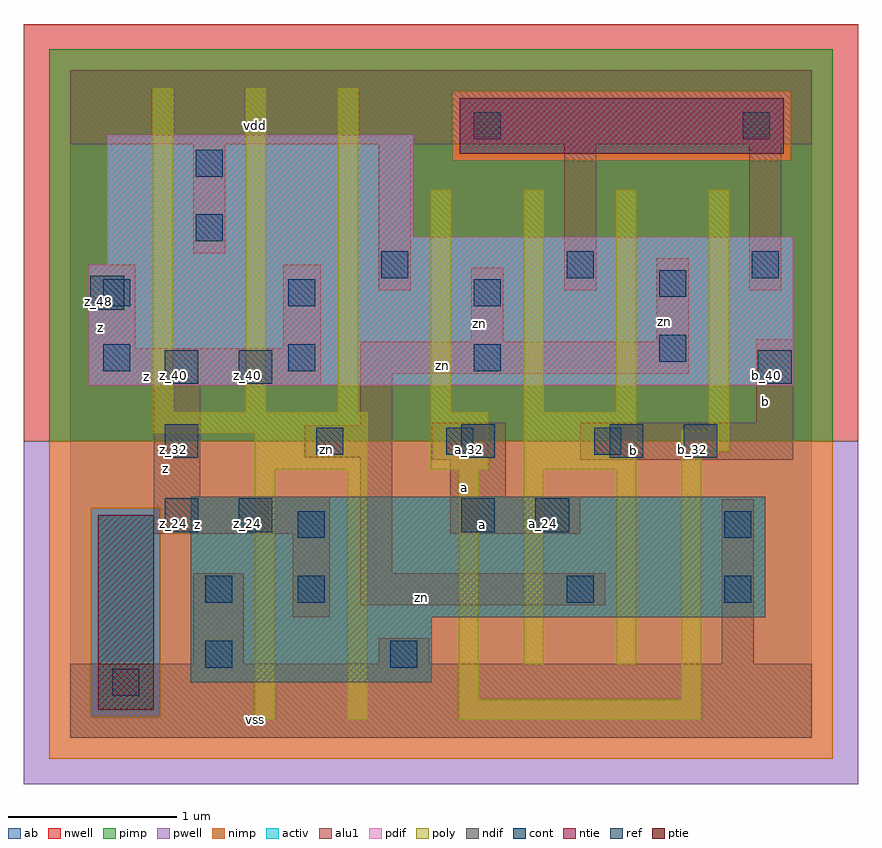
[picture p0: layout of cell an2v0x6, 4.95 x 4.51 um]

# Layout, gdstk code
import gdstk
lib = gdstk.Library(unit=1e-6, precision=2.5e-09)
def R(c, l, rs):  # rectangles x0, y0, x1, y1
    for r in rs: c.add(gdstk.rectangle(r[:2], r[2:], *l))
def A(c, l, x, y, w, h, nx, ny, dx, dy):  # array of equal rectangles
    R(c, l, [(x+i*dx, y+j*dy, x+i*dx+w, y+j*dy+h) for i in range(nx) for j in range(ny)])
ndif = (3, 0)
pdif = (4, 0)
ntie = (5, 0)
ptie = (6, 0)
ref = (24, 0)
cont = (25, 0)
pwell = (41, 0)
nwell = (42, 0)
activ = (43, 0)
pimp = (44, 0)
nimp = (45, 0)
poly = (46, 0)
alu1 = (49, 0)
ab = (63, 0)

an2v0x6 = lib.new_cell('an2v0x6')
R(an2v0x6, ndif, [(0.715,0.33,2.145,0.715), (0.715,0.715,4.125,1.43)])
R(an2v0x6, pdif, [(0.11,2.09,4.29,2.805), (0.22,2.805,4.29,2.97), (0.22,2.97,2.035,3.575)])
R(an2v0x6, ntie, [(2.31,3.465,4.235,3.795)])
R(an2v0x6, ptie, [(0.165,0.165,0.495,1.32)])
A(an2v0x6, ref, 0.56, 1.22, 0.2, 0.2, 1, 3, 0, 0.44)
R(an2v0x6, ref, [(1,1.22,1.2,1.42), (2.32,1.22,2.52,1.42), (2.76,1.22,2.96,1.42), (2.32,1.66,2.52,1.86), (3.2,1.66,3.4,1.86), (3.64,1.66,3.84,1.86), (1,2.1,1.2,2.3), (4.08,2.1,4.28,2.3), (0.12,2.54,0.32,2.74)])
A(an2v0x6, cont, 0.195, 2.175, 0.16, 0.16, 3, 2, 1.1, 0.385)
A(an2v0x6, cont, 1.845, 2.725, 0.16, 0.16, 3, 1, 1.1, 0)
R(an2v0x6, cont, [(0.25,0.25,0.41,0.41), (0.8,0.415,0.96,0.575), (1.9,0.415,2.06,0.575), (0.8,0.8,0.96,0.96), (1.35,0.8,1.51,0.96), (2.945,0.8,3.105,0.96), (3.88,0.8,4.04,0.96), (1.35,1.185,1.51,1.345), (3.88,1.185,4.04,1.345), (1.46,1.68,1.62,1.84), (2.23,1.68,2.39,1.84), (3.11,1.68,3.27,1.84), (3.495,2.23,3.655,2.39), (3.495,2.615,3.655,2.775), (0.745,2.945,0.905,3.105), (0.745,3.33,0.905,3.49), (2.395,3.55,2.555,3.71), (3.99,3.55,4.15,3.71)])
R(an2v0x6, pwell, [(-0.275,-0.275,4.675,1.76)])
R(an2v0x6, nwell, [(-0.275,1.76,4.675,4.235)])
R(an2v0x6, activ, [(0.165,0.165,0.495,1.32), (0.715,0.33,2.145,0.715), (0.715,0.715,4.125,1.43), (0.11,2.09,4.29,2.805), (0.22,2.805,4.29,2.97), (0.22,2.97,2.035,3.575), (2.31,3.465,4.235,3.795)])
R(an2v0x6, pimp, [(0.125,0.125,0.535,1.36), (-0.125,1.76,4.525,3.425), (-0.125,3.425,2.27,3.835), (4.275,3.425,4.525,3.835), (-0.125,3.835,4.525,4.085)])
R(an2v0x6, nimp, [(-0.125,-0.125,4.525,0.125), (-0.125,0.125,0.125,1.36), (0.535,0.125,4.525,1.36), (-0.125,1.36,4.525,1.76), (2.27,3.425,4.275,3.835)])
A(an2v0x6, poly, 0.49, 1.93, 0.12, 1.925, 3, 1, 0.55, 0)
A(an2v0x6, poly, 2.14, 1.93, 0.12, 1.32, 3, 1, 0.55, 0)
R(an2v0x6, poly, [(1.095,0.105,1.215,1.59), (1.645,0.105,1.765,1.59), (2.305,0.105,3.745,0.225), (2.305,0.225,2.425,1.59), (3.625,0.225,3.745,1.7), (2.69,0.435,2.81,1.59), (3.24,0.435,3.36,1.59), (1.095,1.59,1.765,1.81), (2.14,1.59,2.48,1.93), (2.69,1.59,3.36,1.93), (3.625,1.7,3.91,1.82), (0.49,1.81,1.765,1.93), (3.79,1.82,3.91,3.25)])
A(an2v0x6, alu1, 1.83, 2.655, 0.19, 0.865, 3, 1, 1.1, 0)
R(an2v0x6, alu1, [(0,0,4.4,0.44), (0.73,0.44,1.03,0.975), (1.83,0.44,2.13,0.59), (3.865,0.44,4.055,1.415), (1.32,0.715,1.54,1.21), (1.72,0.785,3.175,0.975), (1.72,0.975,1.91,1.665), (0.495,1.21,1.54,1.43), (2.255,1.21,3.025,1.43), (0.495,1.43,0.77,2.09), (2.255,1.43,2.585,1.65), (2.145,1.65,2.585,1.87), (3.025,1.65,4.29,1.87), (1.39,1.665,1.91,1.855), (1.72,1.855,1.91,2.16), (4.07,1.87,4.29,2.365), (0.11,2.09,1.485,2.31), (1.72,2.16,3.67,2.35), (0.11,2.31,0.385,2.805), (1.265,2.31,1.485,2.805), (2.38,2.35,2.57,2.79), (3.48,2.35,3.67,2.845), (0.73,2.875,0.92,3.52), (0,3.52,4.4,3.96)])
R(an2v0x6, ab, [(0,0,4.4,3.96)])
an2v0x6.add(gdstk.Label('vss', (1.1,0.11), layer=49, texttype=0))
an2v0x6.add(gdstk.Label('zn', (2.0825,0.8325), layer=49, texttype=0))
an2v0x6.add(gdstk.Label('a', (2.4475,1.265), layer=49, texttype=0))
an2v0x6.add(gdstk.Label('a', (2.3375,1.485), layer=49, texttype=0))
an2v0x6.add(gdstk.Label('b', (3.34,1.705), layer=49, texttype=0))
an2v0x6.add(gdstk.Label('z', (0.755,1.265), layer=49, texttype=0))
an2v0x6.add(gdstk.Label('zn', (1.52,1.7125), layer=49, texttype=0))
an2v0x6.add(gdstk.Label('b', (4.125,1.9925), layer=49, texttype=0))
an2v0x6.add(gdstk.Label('z', (0.5625,1.595), layer=49, texttype=0))
an2v0x6.add(gdstk.Label('zn', (2.2075,2.2075), layer=49, texttype=0))
an2v0x6.add(gdstk.Label('z', (0.4525,2.145), layer=49, texttype=0))
an2v0x6.add(gdstk.Label('zn', (3.5275,2.4725), layer=49, texttype=0))
an2v0x6.add(gdstk.Label('zn', (2.4275,2.46), layer=49, texttype=0))
an2v0x6.add(gdstk.Label('z', (0.1775,2.4325), layer=49, texttype=0))
an2v0x6.add(gdstk.Label('vdd', (1.1,3.63), layer=49, texttype=0))
an2v0x6.add(gdstk.Label('b_40', (4.13,2.15), layer=24, texttype=0))
an2v0x6.add(gdstk.Label('b_32', (3.69,1.71), layer=24, texttype=0))
an2v0x6.add(gdstk.Label('b_32', (3.25,1.71), layer=24, texttype=0))
an2v0x6.add(gdstk.Label('a_24', (2.81,1.27), layer=24, texttype=0))
an2v0x6.add(gdstk.Label('a_32', (2.37,1.71), layer=24, texttype=0))
an2v0x6.add(gdstk.Label('a_24', (2.37,1.27), layer=24, texttype=0))
an2v0x6.add(gdstk.Label('z_48', (0.17,2.59), layer=24, texttype=0))
an2v0x6.add(gdstk.Label('z_40', (1.05,2.15), layer=24, texttype=0))
an2v0x6.add(gdstk.Label('z_24', (1.05,1.27), layer=24, texttype=0))
an2v0x6.add(gdstk.Label('z_40', (0.61,2.15), layer=24, texttype=0))
an2v0x6.add(gdstk.Label('z_32', (0.61,1.71), layer=24, texttype=0))
an2v0x6.add(gdstk.Label('z_24', (0.61,1.27), layer=24, texttype=0))

lib.write_gds('an2v0x6.gds')
